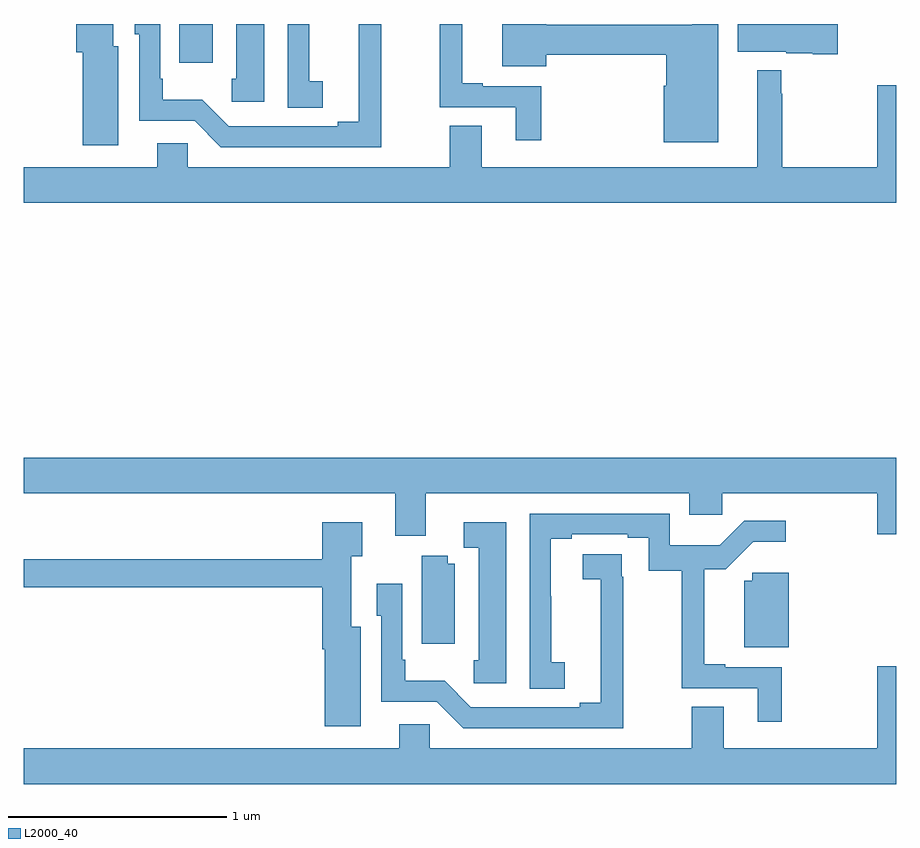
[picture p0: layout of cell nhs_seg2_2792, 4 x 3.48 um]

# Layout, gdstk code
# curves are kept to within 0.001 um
import gdstk
lib = gdstk.Library(unit=1e-6, precision=1e-09)
def R(c, l, rs):  # rectangles x0, y0, x1, y1
    for r in rs: c.add(gdstk.rectangle(r[:2], r[2:], *l))
def P(c, l, *ps):  # polygons
    for p in ps: c.add(gdstk.Polygon(p, *l))
L2000_40 = (2000, 40)

nhs_seg2_2792 = lib.new_cell('nhs_seg2_2792')
R(nhs_seg2_2792, L2000_40, [(257.714,637.623,257.866,637.8)])
P(nhs_seg2_2792, L2000_40, [(260.185,637.8),(260.064,637.8),(260.064,637.796),(259.396,637.796),(259.396,637.8),(259.193,637.8),(259.193,637.607),(259.396,637.607),(259.396,637.66),(259.946,637.66),(259.946,637.518),(259.934,637.518),(259.934,637.259),(260.185,637.259)],
  [(260.731,637.8),(260.273,637.8),(260.273,637.673),(260.496,637.673),(260.496,637.666),(260.618,637.666),(260.618,637.661),(260.731,637.661)],
  [(259.373,637.515),(259.105,637.515),(259.105,637.528),(259.01,637.528),(259.01,637.8),(258.907,637.8),(258.907,637.419),(259.256,637.419),(259.256,637.266),(259.373,637.266)],
  [(258.37,637.537),(258.309,637.537),(258.309,637.8),(258.21,637.8),(258.21,637.417),(258.37,637.417)],
  [(257.434,637.698),(257.41,637.698),(257.41,637.8),(257.24,637.8),(257.24,637.671),(257.27,637.671),(257.27,637.245),(257.434,637.245)],
  [(258.638,637.8),(258.535,637.8),(258.536,637.352),(258.44,637.352),(258.44,637.332),(257.94,637.332),(257.819,637.453),(257.638,637.453),(257.638,637.549),(257.625,637.549),(257.625,637.8),(257.508,637.8),(257.508,637.752),(257.529,637.752),(257.529,637.356),(257.784,637.356),(257.904,637.236),(258.638,637.236)],
  [(258.103,637.8),(257.975,637.8),(257.975,637.548),(257.953,637.548),(257.953,637.443),(258.103,637.443)],
  [(261,637.519),(260.912,637.519),(260.912,637.144),(260.477,637.144),(260.477,637.481),(260.473,637.481),(260.473,637.588),(260.363,637.588),(260.363,637.144),(259.099,637.144),(259.099,637.334),(258.952,637.334),(258.952,637.144),(257.751,637.144),(257.751,637.254),(257.612,637.254),(257.612,637.144),(257,637.144),(257,636.98),(261,636.98)],
  [(258.844,635.648),(260.051,635.648),(260.051,635.55),(260.203,635.55),(260.203,635.648),(260.912,635.648),(260.912,635.46),(261,635.46),(261,635.812),(257,635.812),(257,635.648),(258.704,635.648),(258.704,635.454),(258.844,635.454)],
  [(260.476,634.851),(260.215,634.851),(260.215,634.864),(260.12,634.864),(260.12,635.301),(260.219,635.301),(260.345,635.426),(260.494,635.426),(260.494,635.523),(260.304,635.523),(260.191,635.41),(259.962,635.41),(259.962,635.556),(259.32,635.556),(259.32,634.753),(259.48,634.753),(259.48,634.873),(259.419,634.873),(259.419,635.177),(259.417,635.177),(259.417,635.44),(259.513,635.44),(259.513,635.46),(259.769,635.46),(259.769,635.446),(259.866,635.446),(259.866,635.293),(260.017,635.293),(260.017,634.755),(260.366,634.755),(260.366,634.602),(260.476,634.602)],
  [(259.213,635.515),(259.017,635.515),(259.017,635.4),(259.085,635.4),(259.085,634.884),(259.063,634.884),(259.063,634.779),(259.213,634.779)],
  [(258.544,635.038),(258.502,635.038),(258.502,635.359),(258.553,635.359),(258.553,635.515),(258.368,635.515),(258.368,635.347),(257,635.347),(257,635.218),(258.368,635.218),(258.368,634.934),(258.38,634.934),(258.38,634.581),(258.544,634.581)],
  [(259.748,635.267),(259.742,635.267),(259.742,635.369),(259.563,635.369),(259.563,635.254),(259.645,635.254),(259.646,634.688),(259.55,634.688),(259.55,634.668),(259.05,634.668),(258.929,634.789),(258.748,634.789),(258.748,634.885),(258.735,634.885),(258.735,635.233),(258.618,635.233),(258.618,635.088),(258.639,635.088),(258.639,634.692),(258.894,634.692),(259.014,634.572),(259.748,634.572)],
  [(258.976,635.326),(258.944,635.326),(258.944,635.363),(258.824,635.363),(258.824,634.959),(258.976,634.959)],
  [(260.506,635.284),(260.34,635.284),(260.34,635.248),(260.303,635.248),(260.303,634.943),(260.506,634.943)],
  [(261,634.855),(260.912,634.855),(260.912,634.48),(260.209,634.48),(260.209,634.67),(260.062,634.67),(260.062,634.48),(258.861,634.48),(258.861,634.59),(258.722,634.59),(258.722,634.48),(257,634.48),(257,634.316),(261,634.316)])

lib.write_gds('nhs_seg2_2792.gds')
